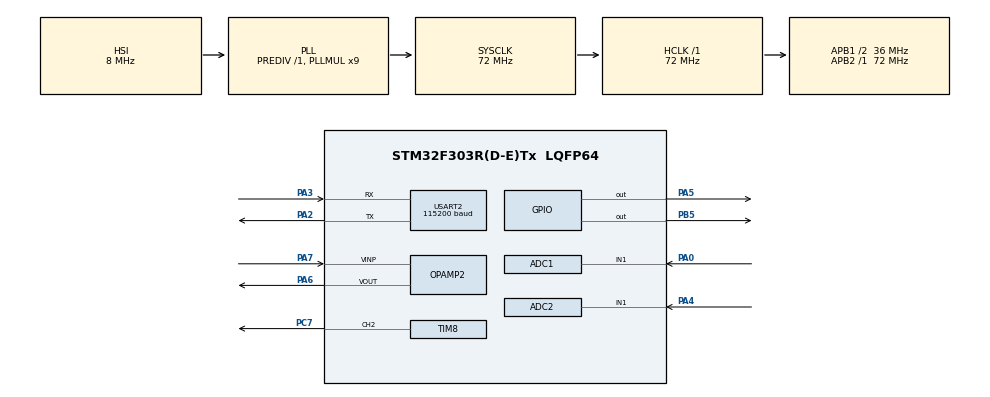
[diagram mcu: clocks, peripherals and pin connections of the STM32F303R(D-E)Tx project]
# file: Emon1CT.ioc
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ADC1.Channel-8\#ChannelRegularConversion=ADC_CHANNEL_1
ADC1.ClockPrescaler=ADC_CLOCK_SYNC_PCLK_DIV1
ADC1.ContinuousConvMode=ENABLE
ADC1.DMAContinuousRequests=ENABLE
ADC1.DataAlign=ADC_DATAALIGN_RIGHT
ADC1.DiscontinuousConvMode=DISABLE
ADC1.EOCSelection=ADC_EOC_SEQ_CONV
ADC1.EnableAnalogWatchDog1=false
ADC1.EnableAnalogWatchDog2=false
ADC1.EnableAnalogWatchDog3=false
ADC1.EnableInjectedConversion=ENABLE
ADC1.EnableRegularConversion=ENABLE
ADC1.ExternalTrigConv=ADC_EXTERNALTRIGCONV_T8_TRGO2
ADC1.ExternalTrigConvEdge=ADC_EXTERNALTRIGCONVEDGE_RISING
ADC1.InjNumberOfConversion=0
ADC1.LowPowerAutoWait=DISABLE
ADC1.NbrOfConversion=1
ADC1.NbrOfConversionFlag=1
ADC1.Offset-8\#ChannelRegularConversion=0
ADC1.OffsetNumber-8\#ChannelRegularConversion=ADC_OFFSET_NONE
ADC1.Overrun=ADC_OVR_DATA_OVERWRITTEN
ADC1.Rank-8\#ChannelRegularConversion=1
ADC1.Resolution=ADC_RESOLUTION_12B
ADC1.SamplingTime-8\#ChannelRegularConversion=ADC_SAMPLETIME_601CYCLES_5
ADC1.ScanConvMode=ADC_SCAN_DISABLE
ADC1.master=1
ADC2.Channel-0\#ChannelRegularConversion=ADC_CHANNEL_1
ADC2.ClockPrescaler=ADC_CLOCK_SYNC_PCLK_DIV1
ADC2.ContinuousConvMode=ENABLE
ADC2.DMAContinuousRequests=ENABLE
ADC2.EOCSelection=ADC_EOC_SEQ_CONV
ADC2.ExternalTrigConv=ADC_EXTERNALTRIGCONV_T8_TRGO2
ADC2.NbrOfConversionFlag=1
ADC2.Offset-0\#ChannelRegularConversion=0
ADC2.OffsetNumber-0\#ChannelRegularConversion=ADC_OFFSET_NONE
ADC2.Rank-0\#ChannelRegularConversion=1
ADC2.SamplingTime-0\#ChannelRegularConversion=ADC_SAMPLETIME_601CYCLES_5
Dma.ADC1.1.Direction=DMA_PERIPH_TO_MEMORY
Dma.ADC1.1.Instance=DMA1_Channel1
Dma.ADC1.1.MemDataAlignment=DMA_MDATAALIGN_HALFWORD
Dma.ADC1.1.MemInc=DMA_MINC_ENABLE
Dma.ADC1.1.Mode=DMA_CIRCULAR
Dma.ADC1.1.PeriphDataAlignment=DMA_PDATAALIGN_HALFWORD
Dma.ADC1.1.PeriphInc=DMA_PINC_DISABLE
Dma.ADC1.1.Priority=DMA_PRIORITY_HIGH
Dma.ADC2.0.Direction=DMA_PERIPH_TO_MEMORY
Dma.ADC2.0.Instance=DMA2_Channel1
Dma.ADC2.0.MemDataAlignment=DMA_MDATAALIGN_HALFWORD
Dma.ADC2.0.MemInc=DMA_MINC_ENABLE
Dma.ADC2.0.Mode=DMA_CIRCULAR
Dma.ADC2.0.PeriphDataAlignment=DMA_PDATAALIGN_HALFWORD
Dma.ADC2.0.PeriphInc=DMA_PINC_DISABLE
Dma.ADC2.0.Priority=DMA_PRIORITY_HIGH
Dma.Request0=ADC2
Dma.Request1=ADC1
Mcu.Family=STM32F3
Mcu.Name=STM32F303R(D-E)Tx
Mcu.Package=LQFP64
NVIC.DMA1_Channel1_IRQn=true\:1\:0\:true\:false\:true\:false
NVIC.DMA2_Channel1_IRQn=true\:1\:0\:true\:false\:true\:false
NVIC.PriorityGroup=NVIC_PRIORITYGROUP_4
PA0.Mode=IN1-Single-Ended
PA0.Signal=ADC1_IN1
PA2.Mode=Asynchronous
PA2.Signal=USART2_TX
PA3.Mode=Asynchronous
PA3.Signal=USART2_RX
PA4.Mode=IN1-Single-Ended
PA4.Signal=ADC2_IN1
PA5.Signal=GPIO_Output
PA6.Mode=Follower
PA6.Signal=OPAMP2_VOUT
PA7.Mode=Follower
PA7.Signal=OPAMP2_VINP
PB5.Signal=GPIO_Output
PC7.Signal=S_TIM8_CH2
ProjectManager.HeapSize=0x200
ProjectManager.StackSize=0x400
ProjectManager.TargetToolchain=Makefile
RCC.AHBFreq_Value=72000000
RCC.APB1CLKDivider=RCC_HCLK_DIV2
RCC.APB1Freq_Value=36000000
RCC.APB1TimFreq_Value=72000000
RCC.APB2Freq_Value=72000000
RCC.APB2TimFreq_Value=72000000
RCC.CortexFreq_Value=72000000
RCC.HCLKFreq_Value=72000000
RCC.HSE_VALUE=8000000
RCC.HSI_VALUE=8000000
RCC.LSE_VALUE=32768
RCC.PLLMUL=RCC_PLL_MUL9
RCC.SYSCLKFreq_VALUE=72000000
RCC.SYSCLKSourceVirtual=RCC_SYSCLKSOURCE_PLLCLK
RCC.USBFreq_Value=72000000
SH.S_TIM8_CH2.0=TIM8_CH2,PWM Generation2 CH2
TIM8.Channel-PWM\ Generation2\ CH2=TIM_CHANNEL_2
TIM8.Period=9999
TIM8.Prescaler=71
TIM8.TIM_MasterOutputTrigger2=TIM_TRGO2_OC2REF
USART2.BaudRate=115200
USART2.VirtualMode-Asynchronous=VM_ASYNC
USART2.WordLength=WORDLENGTH_8B
board=Emon1CT

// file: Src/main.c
/**
  ******************************************************************************
  * @file           : main.c
  * @brief          : Main program body
  ******************************************************************************
  ** This notice applies to any and all portions of this file
  * that are not between comment pairs USER CODE BEGIN and
  * USER CODE END. Other portions of this file, whether
  * inserted by the user or by software development tools
  * are owned by their respective copyright owners.
  *
  * COPYRIGHT(c) 2020 STMicroelectronics
  *
  * Redistribution and use in source and binary forms, with or without modification,
  * are permitted provided that the following conditions are met:
  *   1. Redistributions of source code must retain the above copyright notice,
  *      this list of conditions and the following disclaimer.
  *   2. Redistributions in binary form must reproduce the above copyright notice,
  *      this list of conditions and the following disclaimer in the documentation
  *      and/or other materials provided with the distribution.
  *   3. Neither the name of STMicroelectronics nor the names of its contributors
  *      may be used to endorse or promote products derived from this software
  *      without specific prior written permission.
  *
  * THIS SOFTWARE IS PROVIDED BY THE COPYRIGHT HOLDERS AND CONTRIBUTORS "AS IS"
  * AND ANY EXPRESS OR IMPLIED WARRANTIES, INCLUDING, BUT NOT LIMITED TO, THE
  * IMPLIED WARRANTIES OF MERCHANTABILITY AND FITNESS FOR A PARTICULAR PURPOSE ARE
  * DISCLAIMED. IN NO EVENT SHALL THE COPYRIGHT HOLDER OR CONTRIBUTORS BE LIABLE
  * FOR ANY DIRECT, INDIRECT, INCIDENTAL, SPECIAL, EXEMPLARY, OR CONSEQUENTIAL
  * DAMAGES (INCLUDING, BUT NOT LIMITED TO, PROCUREMENT OF SUBSTITUTE GOODS OR
  * SERVICES; LOSS OF USE, DATA, OR PROFITS; OR BUSINESS INTERRUPTION) HOWEVER
  * CAUSED AND ON ANY THEORY OF LIABILITY, WHETHER IN CONTRACT, STRICT LIABILITY,
  * OR TORT (INCLUDING NEGLIGENCE OR OTHERWISE) ARISING IN ANY WAY OUT OF THE USE
  * OF THIS SOFTWARE, EVEN IF ADVISED OF THE POSSIBILITY OF SUCH DAMAGE.
  *
  ******************************************************************************
  */
#include "main.h"
#include "stm32f3xx_hal.h"
#include "adc.h"
#include "dma.h"
#include "opamp.h"
#include "tim.h"
#include "usart.h"
#include "gpio.h"

/* USER CODE BEGIN PV */
/* Private variables ---------------------------------------------------------*/

#define true 1
#define false 0
#define MID_ADC_READING 2048
#define POSITIVE 1
#define NEGATIVE 0

// Serial output buffer
char log_buffer[100];

// Flag
int8_t readings_ready = false;

// Calibration
double VCAL = 268.97;
double ICAL = 20.0;

// ISR accumulators
int64_t sum_P = 0;
uint64_t sum_V_sq = 0;
uint64_t sum_I_sq = 0;
int64_t sum_V = 0;
int64_t sum_I = 0;
uint64_t count = 0;

// Copy for main loop processing
int64_t sum_P_copy;
uint64_t sum_V_sq_copy;
uint64_t sum_I_sq_copy;
int64_t sum_V_copy;
int64_t sum_I_copy;
uint64_t count_copy;

uint8_t cycles = 0;

uint8_t polarity_count = 0;
uint8_t polarityUnconfirmed = 0;
uint8_t polarityConfirmed = 0;
uint8_t polarityConfirmedOfLastSampleV = 0;

/* USER CODE END PV */

void SystemClock_Config(void);

/* USER CODE BEGIN PFP */
/* Private function prototypes -----------------------------------------------*/

/* USER CODE END PFP */

/* USER CODE BEGIN 0 */
void process_frame(uint16_t offset)
{
  int32_t sample_V, sample_I, signed_V, signed_I;

  HAL_GPIO_WritePin(GPIOB, GPIO_PIN_5, GPIO_PIN_SET);
  for (int i=0; i<2000; i++) {
    // ----------------------------------------
    // Voltage
    sample_V = adc1_dma_buff[offset+i];
    signed_V = sample_V - MID_ADC_READING;
    sum_V += signed_V;
    sum_V_sq += signed_V * signed_V;
    // ----------------------------------------
    // Current
    sample_I = adc2_dma_buff[offset+i];
    signed_I = sample_I - MID_ADC_READING;
    sum_I += signed_I;
    sum_I_sq += signed_I * signed_I;
    // ----------------------------------------
    // Power
    sum_P += signed_V * signed_I;

    count ++;

    // -----------------------------------------------
    // Zero crossing detection from Robert Wall
    // -----------------------------------------------
    polarityConfirmedOfLastSampleV = polarityConfirmed;

    if (signed_V > 0) {
        polarityUnconfirmed = POSITIVE;
    } else {
        polarityUnconfirmed = NEGATIVE;
    }

    if (polarityUnconfirmed != polarityConfirmedOfLastSampleV) {
        polarity_count++;
    } else {
        polarity_count = 0;
    }

    if (polarity_count >= 3) {
        polarity_count = 0;
        polarityConfirmed = polarityUnconfirmed;
    }

    if (polarityConfirmed == POSITIVE && polarityConfirmedOfLastSampleV != POSITIVE) cycles++;
    // -----------------------------------------------

    // 125 cycles or 2.5 seconds
    if (cycles>=125) {
      cycles = 0;

      sum_P_copy = sum_P;
      sum_V_sq_copy = sum_V_sq;
      sum_I_sq_copy = sum_I_sq;
      sum_V_copy = sum_V;
      sum_I_copy = sum_I;
      count_copy = count;

      sum_P = 0;
      sum_V_sq = 0;
      sum_I_sq = 0;
      sum_V = 0;
      sum_I = 0;
      count = 0;

      readings_ready = true;
    }
  }
  HAL_GPIO_WritePin(GPIOB, GPIO_PIN_5, GPIO_PIN_RESET);
}

/* USER CODE END 0 */

int main(void)
{

  /* MCU Configuration----------------------------------------------------------*/

  /* Reset of all peripherals, Initializes the Flash interface and the Systick. */
  HAL_Init();

  /* USER CODE BEGIN Init */
  double V_RATIO = VCAL * (3.3 / 4096.0);
  double I_RATIO = ICAL * (3.3 / 4096.0);
  /* USER CODE END Init */

  /* Configure the system clock */
  SystemClock_Config();

  /* Initialize all configured peripherals */
  MX_GPIO_Init();
  MX_DMA_Init();
  MX_USART2_UART_Init();
  MX_ADC1_Init();
  MX_ADC2_Init();
  MX_TIM8_Init();
  MX_OPAMP2_Init();
  /* USER CODE BEGIN 2 */

  HAL_OPAMP_Start(&hopamp2);

  sprintf(log_buffer,"Vrms\tIrms\tRP\tAP\tPF\tPFA\tCount\r\n");
  debug_printf(log_buffer);

  start_ADCs();

  /* USER CODE END 2 */

  /* Infinite loop */
  /* USER CODE BEGIN WHILE */
  while (1)
  {
     if (readings_ready) {
       readings_ready = false;

       double Vmean = sum_V_copy * (1.0 / count_copy);
       double Imean = sum_I_copy * (1.0 / count_copy);

       sum_V_sq_copy *= (1.0 / count_copy);
       sum_V_sq_copy -= (Vmean*Vmean);
       double Vrms = V_RATIO * sqrt((double)sum_V_sq_copy);

       sum_I_sq_copy *= (1.0 / count_copy);
       sum_I_sq_copy -= (Imean*Imean);
       double Irms = I_RATIO * sqrt((double)sum_I_sq_copy);

       double mean_P = (sum_P_copy * (1.0 / count_copy)) - (Vmean*Imean);
       double realPower = V_RATIO * I_RATIO * mean_P;

       double apparentPower = Vrms * Irms;
       double powerFactor = realPower / apparentPower;
       double powerFactorDegrees = 360*(acos(powerFactor)/(2*3.14159265));

       sprintf(log_buffer,"%.2f\t%.3f\t%.1f\t%.1f\t%.3f\t%.3f\t%Ld\r\n", Vrms, Irms, realPower, apparentPower, powerFactor,powerFactorDegrees,count_copy);
       debug_printf(log_buffer);
     }
  /* USER CODE END WHILE */

  }

}

void SystemClock_Config(void)
{

  RCC_OscInitTypeDef RCC_OscInitStruct;
  RCC_ClkInitTypeDef RCC_ClkInitStruct;
  RCC_PeriphCLKInitTypeDef PeriphClkInit;

    /**Initializes the CPU, AHB and APB busses clocks
    */
  RCC_OscInitStruct.OscillatorType = RCC_OSCILLATORTYPE_HSI;
  RCC_OscInitStruct.HSIState = RCC_HSI_ON;
  RCC_OscInitStruct.HSICalibrationValue = 16;
  RCC_OscInitStruct.PLL.PLLState = RCC_PLL_ON;
  RCC_OscInitStruct.PLL.PLLSource = RCC_PLLSOURCE_HSI;
  RCC_OscInitStruct.PLL.PLLMUL = RCC_PLL_MUL9;
  RCC_OscInitStruct.PLL.PREDIV = RCC_PREDIV_DIV1;
  if (HAL_RCC_OscConfig(&RCC_OscInitStruct) != HAL_OK)
  {
    _Error_Handler(__FILE__, __LINE__);
  }

    /**Initializes the CPU, AHB and APB busses clocks
    */
  RCC_ClkInitStruct.ClockType = RCC_CLOCKTYPE_HCLK|RCC_CLOCKTYPE_SYSCLK
                              |RCC_CLOCKTYPE_PCLK1|RCC_CLOCKTYPE_PCLK2;
  RCC_ClkInitStruct.SYSCLKSource = RCC_SYSCLKSOURCE_PLLCLK;
  RCC_ClkInitStruct.AHBCLKDivider = RCC_SYSCLK_DIV1;
  RCC_ClkInitStruct.APB1CLKDivider = RCC_HCLK_DIV2;
  RCC_ClkInitStruct.APB2CLKDivider = RCC_HCLK_DIV1;

  if (HAL_RCC_ClockConfig(&RCC_ClkInitStruct, FLASH_LATENCY_2) != HAL_OK)
  {
    _Error_Handler(__FILE__, __LINE__);
  }

  PeriphClkInit.PeriphClockSelection = RCC_PERIPHCLK_USART2|RCC_PERIPHCLK_TIM8;
  PeriphClkInit.Usart2ClockSelection = RCC_USART2CLKSOURCE_PCLK1;
  PeriphClkInit.Tim8ClockSelection = RCC_TIM8CLK_HCLK;
  if (HAL_RCCEx_PeriphCLKConfig(&PeriphClkInit) != HAL_OK)
  {
    _Error_Handler(__FILE__, __LINE__);
  }

    /**Configure the Systick interrupt time
    */
  HAL_SYSTICK_Config(HAL_RCC_GetHCLKFreq()/1000);

    /**Configure the Systick
    */
  HAL_SYSTICK_CLKSourceConfig(SYSTICK_CLKSOURCE_HCLK);

  /* SysTick_IRQn interrupt configuration */
  HAL_NVIC_SetPriority(SysTick_IRQn, 0, 0);
}

void _Error_Handler(char *file, int line)
{
  while(1)
  {
  }
}

/************************ (C) COPYRIGHT STMicroelectronics *****END OF FILE****/
